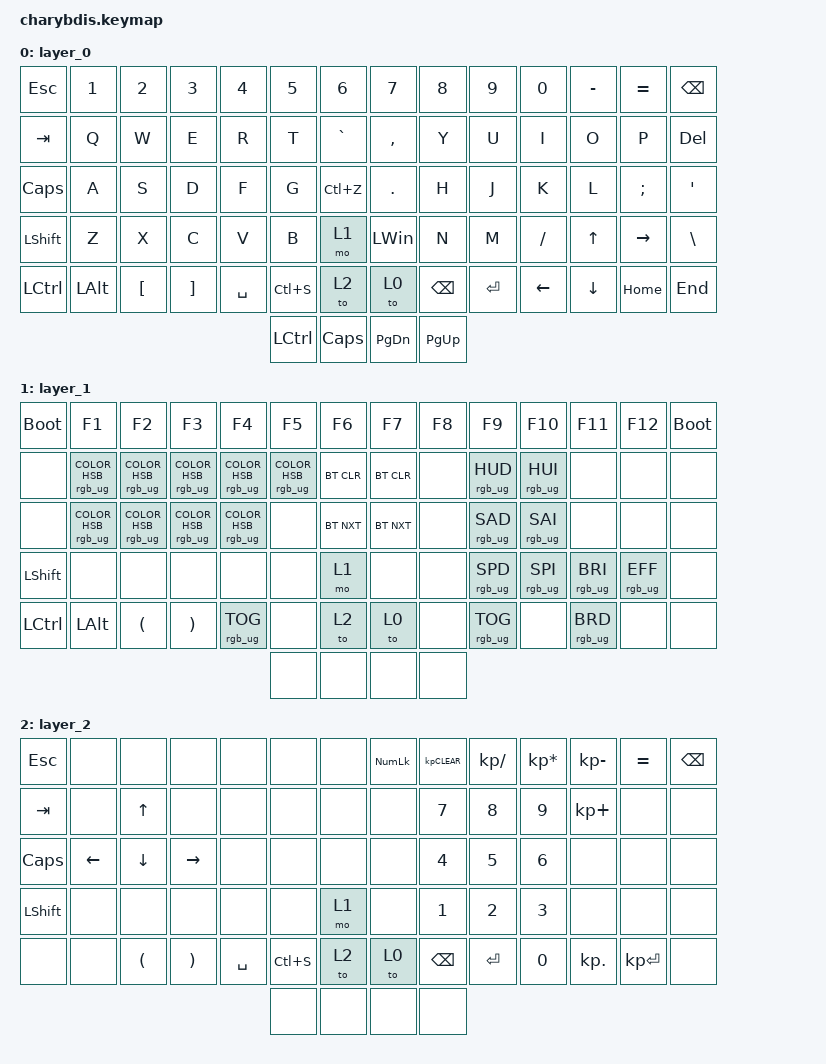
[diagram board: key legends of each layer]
#include <behaviors.dtsi>
#include <dt-bindings/zmk/bt.h>
#include <dt-bindings/zmk/keys.h>
#include <dt-bindings/zmk/rgb.h>

&lt {
    tapping-term-ms = <200>;
    flavor = "balanced";
    quick-tap-ms = <150>;
};

/ {
    keymap {
        compatible = "zmk,keymap";

        layer_0 {
            bindings = <
&kp ESC         &kp NUMBER_1  &kp N2    &kp N3    &kp N4     &kp N5     &kp N6       &kp N7         &kp N8         &kp N9   &kp N0    &kp MINUS     &kp EQUAL  &kp BSPC
&kp TAB         &kp Q         &kp W     &kp E     &kp R      &kp T      &kp GRAVE    &kp COMMA      &kp Y          &kp U    &kp I     &kp O         &kp P      &kp DEL
&kp CAPS        &kp A         &kp S     &kp D     &kp F      &kp G      &kp LC(Z)    &kp DOT        &kp H          &kp J    &kp K     &kp L         &kp SEMI   &kp SQT
&kp LEFT_SHIFT  &kp Z         &kp X     &kp C     &kp V      &kp B      &mo 1        &kp LEFT_WIN   &kp N          &kp M    &kp FSLH  &kp UP_ARROW  &kp RIGHT  &kp BACKSLASH
&kp LCTRL       &kp LEFT_ALT  &kp LBKT  &kp RBKT  &kp SPACE  &kp LC(S)  &to 2        &to 0          &kp BACKSPACE  &kp RET  &kp LEFT  &kp DOWN      &kp HOME   &kp END
                                                             &kp LCTRL  &kp CAPS     &kp PAGE_DOWN  &kp PG_UP
            >;
        };

        layer_1 {
            bindings = <
&bootloader     &kp F1                             &kp F2                             &kp F3                            &kp F4                             &kp F5                             &kp F6        &kp F7      &kp F8  &kp F9           &kp F10          &kp F11          &kp F12          &bootloader
&none           &rgb_ug RGB_COLOR_HSB(360,100,50)  &rgb_ug RGB_COLOR_HSB(35,100,60)   &rgb_ug RGB_COLOR_HSB(83,100,54)  &rgb_ug RGB_COLOR_HSB(186,100,73)  &rgb_ug RGB_COLOR_HSB(236,100,57)  &bt BT_CLR    &bt BT_CLR  &none   &rgb_ug RGB_HUD  &rgb_ug RGB_HUI  &none            &none            &none
&none           &rgb_ug RGB_COLOR_HSB(271,100,50)  &rgb_ug RGB_COLOR_HSB(317,100,74)  &rgb_ug RGB_COLOR_HSB(62,100,57)  &rgb_ug RGB_COLOR_HSB(0,0,100)     &none                              &bt BT_NXT    &bt BT_NXT  &none   &rgb_ug RGB_SAD  &rgb_ug RGB_SAI  &none            &none            &none
&kp LEFT_SHIFT  &none                              &none                              &none                             &none                              &none                              &mo 1         &none       &none   &rgb_ug RGB_SPD  &rgb_ug RGB_SPI  &rgb_ug RGB_BRI  &rgb_ug RGB_EFF  &none
&kp LCTRL       &kp LEFT_ALT                       &kp LEFT_PARENTHESIS               &kp RIGHT_PARENTHESIS             &rgb_ug RGB_TOG                    &none                              &to 2         &to 0       &none   &rgb_ug RGB_TOG  &none            &rgb_ug RGB_BRD  &none            &none
                                                                                                                                                           &none                              &none         &none       &none
            >;
        };

        layer_2 {
            bindings = <
&kp ESC         &none     &none                 &none                  &none      &none      &none    &kp KP_NUMLOCK  &kp KP_CLEAR   &kp KP_DIVIDE  &kp KP_MULTIPLY  &kp KP_MINUS  &kp EQUAL     &kp BACKSPACE
&kp TAB         &none     &kp UP                &none                  &none      &none      &none    &none           &kp N7         &kp N8         &kp N9           &kp KP_PLUS   &none         &none
&kp CAPS        &kp LEFT  &kp DOWN              &kp RIGHT              &none      &none      &none    &none           &kp NUMBER_4   &kp N5         &kp N6           &none         &none         &none
&kp LEFT_SHIFT  &none     &none                 &none                  &none      &none      &mo 1    &none           &kp N1         &kp N2         &kp N3           &none         &none         &none
&none           &none     &kp LEFT_PARENTHESIS  &kp RIGHT_PARENTHESIS  &kp SPACE  &kp LC(S)  &to 2    &to 0           &kp BACKSPACE  &kp RETURN     &kp N0           &kp KP_DOT    &kp KP_ENTER  &none
                                                                                  &none      &none    &none           &none
            >;
        };

        /* layer_2 {
            bindings = <
&none  &none   &none    &none   &none         &none         &kp N1         &none         &none     &none  &none   &to 0
&none  &none   &none    &none   &none         &none         &none         &none          &rgb_ug RGB_BRD &rgb_ug RGB_BRI  &rgb_ug RGB_EFF   &rgb_ug RGB_TOG
&none  &none   &none    &none   &none         &none         &none         &mkp LCLK     &mkp RCLK  &none  &none   &none
&none  &none   &none    &none   &bt BT_NXT  &bt BT_CLR    &none         &none         &none     &none  &none   &none
                                   &none         &none         &none         &none         &none
                                                 &none         &none         &none
            >;
          trackball-bindings = <&tsl>;
            
        };

       Mouse {
            bindings = <
&none        &none         &none         &none         &none      &none         &none       &none      &none         &none         &none         &none
&none        &bt BT_SEL 0  &bt BT_SEL 1  &bt BT_SEL 3  &none      &bt BT_CLR    &bt BT_CLR  &none      &bt BT_SEL 2  &bt BT_SEL 1  &bt BT_SEL 0  &none
&none        &trans        &trans        &mkp MCLK     &trans     &none         &none       &trans     &mkp MCLK     &trans        &trans        &none
&bootloader  &trans        &mkp RCLK     &mo 4         &mkp LCLK  &mo 5         &mo 5       &mkp LCLK  &mo 4         &mkp RCLK     &trans        &bootloader
                                         &mo 5         &mkp LCLK  &mkp RCLK     &mkp RCLK   &mkp LCLK
                                                       &none      &trans        &trans
            >;

            
        };

        layer_4 {
            bindings = <
&trans  &trans  &trans     &trans     &trans     &trans       &trans     &trans     &trans     &trans     &trans  &trans
&trans  &trans  &trans     &trans     &trans     &trans       &trans     &trans     &trans     &trans     &trans  &trans
&trans  &trans  &trans     &mkp MCLK  &trans     &trans       &trans     &trans     &mkp MCLK  &trans     &trans  &trans
&trans  &trans  &mkp RCLK  &trans     &mkp LCLK  &trans       &trans     &mkp LCLK  &trans     &mkp RCLK  &trans  &trans
                           &trans     &mkp LCLK  &mkp RCLK    &mkp RCLK  &mkp LCLK
                                      &trans     &trans       &trans
            >;
                
                
                trackball-bindings = <&tsl>;
        };

        layer_5 {
            bindings = <
&trans  &trans  &trans     &trans     &trans     &trans       &trans     &trans     &trans     &trans     &trans  &trans
&trans  &trans  &trans     &trans     &trans     &trans       &trans     &trans     &trans     &trans     &trans  &trans
&trans  &trans  &trans     &mkp MCLK  &trans     &trans       &trans     &trans     &mkp MCLK  &trans     &trans  &trans
&trans  &trans  &mkp RCLK  &trans     &mkp LCLK  &trans       &trans     &mkp LCLK  &trans     &mkp RCLK  &trans  &trans
                           &trans     &mkp LCLK  &mkp RCLK    &mkp RCLK  &mkp LCLK
                                      &trans     &trans       &trans
            >;
                trackball-bindings = <&tmv_fine>;
                
        };*/
    };
};
